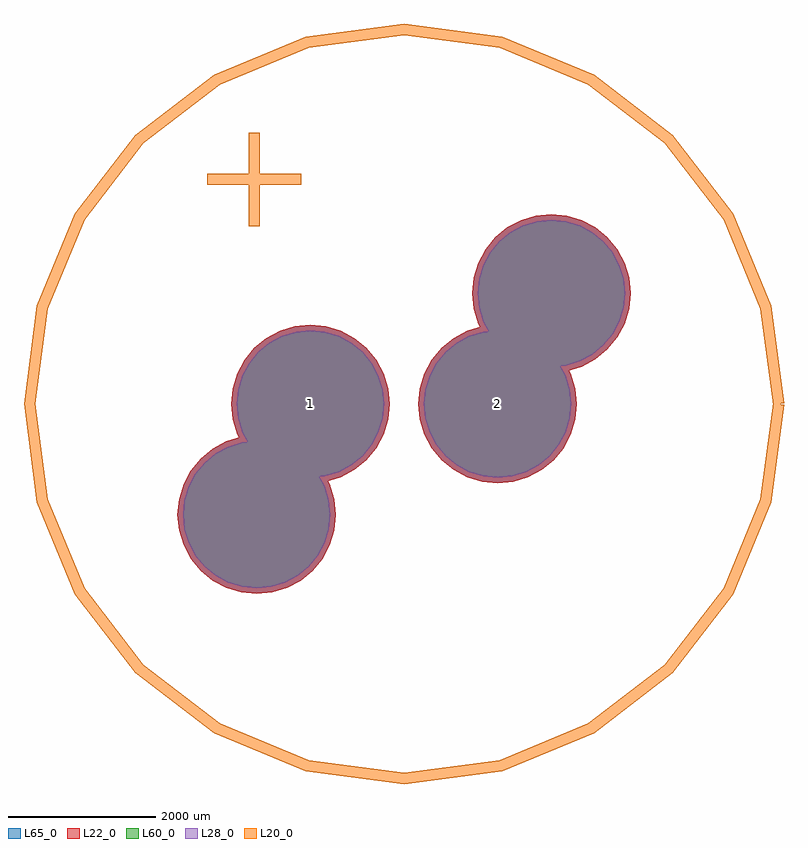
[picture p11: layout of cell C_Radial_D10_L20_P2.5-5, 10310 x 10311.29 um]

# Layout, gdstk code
import gdstk
lib = gdstk.Library(unit=1e-6, precision=1e-09)
def P(c, l, *ps):  # polygons
    for p in ps: c.add(gdstk.Polygon(p, *l))
L20_0 = (20, 0)
L22_0 = (22, 0)
L28_0 = (28, 0)
L60_0 = (60, 0)
L65_0 = (65, 0)

c_radial_d10_l20_p2_5_5 = lib.new_cell('C_Radial_D10_L20_P2.5-5')
P(c_radial_d10_l20_p2_5_5, L22_0, [(3073.47,1501.14),(3052.824,1710.763),(2991.679,1912.33),(2892.386,2098.095),(2758.759,2260.919),(2595.935,2394.546),(2410.17,2493.839),(2208.603,2554.984),(1998.98,2575.63),(1789.357,2554.984),(1587.79,2493.839),(1402.025,2394.546),(1239.201,2260.919),(1105.574,2098.095),(1006.281,1912.33),(945.136,1710.763),(924.49,1501.14),(945.136,1291.517),(1006.281,1089.95),(1105.574,904.185),(1239.201,741.361),(1402.025,607.734),(1587.79,508.441),(1789.357,447.296),(1998.98,426.65),(2208.603,447.296),(2410.17,508.441),(2595.935,607.734),(2758.759,741.361),(2892.386,904.185),(2991.679,1089.95),(3052.824,1291.517)],
  [(2344.49,0),(2323.844,209.623),(2262.699,411.19),(2163.406,596.955),(2029.779,759.779),(1866.955,893.406),(1681.19,992.699),(1479.623,1053.844),(1270,1074.49),(1060.377,1053.844),(858.81,992.699),(673.045,893.406),(510.221,759.779),(376.594,596.955),(277.301,411.19),(216.156,209.623),(195.51,0),(216.156,-209.623),(277.301,-411.19),(376.594,-596.955),(510.221,-759.779),(673.045,-893.406),(858.81,-992.699),(1060.377,-1053.844),(1270,-1074.49),(1479.623,-1053.844),(1681.19,-992.699),(1866.955,-893.406),(2029.779,-759.779),(2163.406,-596.955),(2262.699,-411.19),(2323.844,-209.623)],
  [(-924.49,-1501.14),(-945.136,-1291.517),(-1006.281,-1089.95),(-1105.574,-904.185),(-1239.201,-741.361),(-1402.025,-607.734),(-1587.79,-508.441),(-1789.357,-447.296),(-1998.98,-426.65),(-2208.603,-447.296),(-2410.17,-508.441),(-2595.935,-607.734),(-2758.759,-741.361),(-2892.386,-904.185),(-2991.679,-1089.95),(-3052.824,-1291.517),(-3073.47,-1501.14),(-3052.824,-1710.763),(-2991.679,-1912.33),(-2892.386,-2098.095),(-2758.759,-2260.919),(-2595.935,-2394.546),(-2410.17,-2493.839),(-2208.603,-2554.984),(-1998.98,-2575.63),(-1789.357,-2554.984),(-1587.79,-2493.839),(-1402.025,-2394.546),(-1239.201,-2260.919),(-1105.574,-2098.095),(-1006.281,-1912.33),(-945.136,-1710.763)],
  [(-195.51,0),(-216.156,209.623),(-277.301,411.19),(-376.594,596.955),(-510.221,759.779),(-673.045,893.406),(-858.81,992.699),(-1060.377,1053.844),(-1270,1074.49),(-1479.623,1053.844),(-1681.19,992.699),(-1866.955,893.406),(-2029.779,759.779),(-2163.406,596.955),(-2262.699,411.19),(-2323.844,209.623),(-2344.49,0),(-2323.844,-209.623),(-2262.699,-411.19),(-2163.406,-596.955),(-2029.779,-759.779),(-1866.955,-893.406),(-1681.19,-992.699),(-1479.623,-1053.844),(-1270,-1074.49),(-1060.377,-1053.844),(-858.81,-992.699),(-673.045,-893.406),(-510.221,-759.779),(-376.594,-596.955),(-277.301,-411.19),(-216.156,-209.623)])
P(c_radial_d10_l20_p2_5_5, L28_0, [(2998.47,1501.14),(2979.265,1696.131),(2922.388,1883.628),(2830.026,2056.427),(2705.726,2207.886),(2554.267,2332.186),(2381.468,2424.548),(2193.971,2481.425),(1998.98,2500.63),(1803.989,2481.425),(1616.492,2424.548),(1443.693,2332.186),(1292.234,2207.886),(1167.934,2056.427),(1075.572,1883.628),(1018.695,1696.131),(999.49,1501.14),(1018.695,1306.149),(1075.572,1118.652),(1167.934,945.853),(1292.234,794.394),(1443.693,670.094),(1616.492,577.732),(1803.989,520.855),(1998.98,501.65),(2193.971,520.855),(2381.468,577.732),(2554.267,670.094),(2705.726,794.394),(2830.026,945.853),(2922.388,1118.652),(2979.265,1306.149)],
  [(2269.49,0),(2250.285,194.991),(2193.408,382.488),(2101.046,555.287),(1976.746,706.746),(1825.287,831.046),(1652.488,923.408),(1464.991,980.285),(1270,999.49),(1075.009,980.285),(887.512,923.408),(714.713,831.046),(563.254,706.746),(438.954,555.287),(346.592,382.488),(289.715,194.991),(270.51,0),(289.715,-194.991),(346.592,-382.488),(438.954,-555.287),(563.254,-706.746),(714.713,-831.046),(887.512,-923.408),(1075.009,-980.285),(1270,-999.49),(1464.991,-980.285),(1652.488,-923.408),(1825.287,-831.046),(1976.746,-706.746),(2101.046,-555.287),(2193.408,-382.488),(2250.285,-194.991)],
  [(-999.49,-1501.14),(-1018.695,-1306.149),(-1075.572,-1118.652),(-1167.934,-945.853),(-1292.234,-794.394),(-1443.693,-670.094),(-1616.492,-577.732),(-1803.989,-520.855),(-1998.98,-501.65),(-2193.971,-520.855),(-2381.468,-577.732),(-2554.267,-670.094),(-2705.726,-794.394),(-2830.026,-945.853),(-2922.388,-1118.652),(-2979.265,-1306.149),(-2998.47,-1501.14),(-2979.265,-1696.131),(-2922.388,-1883.628),(-2830.026,-2056.427),(-2705.726,-2207.886),(-2554.267,-2332.186),(-2381.468,-2424.548),(-2193.971,-2481.425),(-1998.98,-2500.63),(-1803.989,-2481.425),(-1616.492,-2424.548),(-1443.693,-2332.186),(-1292.234,-2207.886),(-1167.934,-2056.427),(-1075.572,-1883.628),(-1018.695,-1696.131)],
  [(-270.51,0),(-289.715,194.991),(-346.592,382.488),(-438.954,555.287),(-563.254,706.746),(-714.713,831.046),(-887.512,923.408),(-1075.009,980.285),(-1270,999.49),(-1464.991,980.285),(-1652.488,923.408),(-1825.287,831.046),(-1976.746,706.746),(-2101.046,555.287),(-2193.408,382.488),(-2250.285,194.991),(-2269.49,0),(-2250.285,-194.991),(-2193.408,-382.488),(-2101.046,-555.287),(-1976.746,-706.746),(-1825.287,-831.046),(-1652.488,-923.408),(-1464.991,-980.285),(-1270,-999.49),(-1075.009,-980.285),(-887.512,-923.408),(-714.713,-831.046),(-563.254,-706.746),(-438.954,-555.287),(-346.592,-382.488),(-289.715,-194.991)])
P(c_radial_d10_l20_p2_5_5, L60_0, [(2998.47,1501.14),(2979.265,1696.131),(2922.388,1883.628),(2830.026,2056.427),(2705.726,2207.886),(2554.267,2332.186),(2381.468,2424.548),(2193.971,2481.425),(1998.98,2500.63),(1803.989,2481.425),(1616.492,2424.548),(1443.693,2332.186),(1292.234,2207.886),(1167.934,2056.427),(1075.572,1883.628),(1018.695,1696.131),(999.49,1501.14),(1018.695,1306.149),(1075.572,1118.652),(1167.934,945.853),(1292.234,794.394),(1443.693,670.094),(1616.492,577.732),(1803.989,520.855),(1998.98,501.65),(2193.971,520.855),(2381.468,577.732),(2554.267,670.094),(2705.726,794.394),(2830.026,945.853),(2922.388,1118.652),(2979.265,1306.149)],
  [(2269.49,0),(2250.285,194.991),(2193.408,382.488),(2101.046,555.287),(1976.746,706.746),(1825.287,831.046),(1652.488,923.408),(1464.991,980.285),(1270,999.49),(1075.009,980.285),(887.512,923.408),(714.713,831.046),(563.254,706.746),(438.954,555.287),(346.592,382.488),(289.715,194.991),(270.51,0),(289.715,-194.991),(346.592,-382.488),(438.954,-555.287),(563.254,-706.746),(714.713,-831.046),(887.512,-923.408),(1075.009,-980.285),(1270,-999.49),(1464.991,-980.285),(1652.488,-923.408),(1825.287,-831.046),(1976.746,-706.746),(2101.046,-555.287),(2193.408,-382.488),(2250.285,-194.991)],
  [(-999.49,-1501.14),(-1018.695,-1306.149),(-1075.572,-1118.652),(-1167.934,-945.853),(-1292.234,-794.394),(-1443.693,-670.094),(-1616.492,-577.732),(-1803.989,-520.855),(-1998.98,-501.65),(-2193.971,-520.855),(-2381.468,-577.732),(-2554.267,-670.094),(-2705.726,-794.394),(-2830.026,-945.853),(-2922.388,-1118.652),(-2979.265,-1306.149),(-2998.47,-1501.14),(-2979.265,-1696.131),(-2922.388,-1883.628),(-2830.026,-2056.427),(-2705.726,-2207.886),(-2554.267,-2332.186),(-2381.468,-2424.548),(-2193.971,-2481.425),(-1998.98,-2500.63),(-1803.989,-2481.425),(-1616.492,-2424.548),(-1443.693,-2332.186),(-1292.234,-2207.886),(-1167.934,-2056.427),(-1075.572,-1883.628),(-1018.695,-1696.131)],
  [(-270.51,0),(-289.715,194.991),(-346.592,382.488),(-438.954,555.287),(-563.254,706.746),(-714.713,831.046),(-887.512,923.408),(-1075.009,980.285),(-1270,999.49),(-1464.991,980.285),(-1652.488,923.408),(-1825.287,831.046),(-1976.746,706.746),(-2101.046,555.287),(-2193.408,382.488),(-2250.285,194.991),(-2269.49,0),(-2250.285,-194.991),(-2193.408,-382.488),(-2101.046,-555.287),(-1976.746,-706.746),(-1825.287,-831.046),(-1652.488,-923.408),(-1464.991,-980.285),(-1270,-999.49),(-1075.009,-980.285),(-887.512,-923.408),(-714.713,-831.046),(-563.254,-706.746),(-438.954,-555.287),(-346.592,-382.488),(-289.715,-194.991)])
P(c_radial_d10_l20_p2_5_5, L65_0, [(3073.47,1501.14),(3052.824,1710.763),(2991.679,1912.33),(2892.386,2098.095),(2758.759,2260.919),(2595.935,2394.546),(2410.17,2493.839),(2208.603,2554.984),(1998.98,2575.63),(1789.357,2554.984),(1587.79,2493.839),(1402.025,2394.546),(1239.201,2260.919),(1105.574,2098.095),(1006.281,1912.33),(945.136,1710.763),(924.49,1501.14),(945.136,1291.517),(1006.281,1089.95),(1105.574,904.185),(1239.201,741.361),(1402.025,607.734),(1587.79,508.441),(1789.357,447.296),(1998.98,426.65),(2208.603,447.296),(2410.17,508.441),(2595.935,607.734),(2758.759,741.361),(2892.386,904.185),(2991.679,1089.95),(3052.824,1291.517)],
  [(2344.49,0),(2323.844,209.623),(2262.699,411.19),(2163.406,596.955),(2029.779,759.779),(1866.955,893.406),(1681.19,992.699),(1479.623,1053.844),(1270,1074.49),(1060.377,1053.844),(858.81,992.699),(673.045,893.406),(510.221,759.779),(376.594,596.955),(277.301,411.19),(216.156,209.623),(195.51,0),(216.156,-209.623),(277.301,-411.19),(376.594,-596.955),(510.221,-759.779),(673.045,-893.406),(858.81,-992.699),(1060.377,-1053.844),(1270,-1074.49),(1479.623,-1053.844),(1681.19,-992.699),(1866.955,-893.406),(2029.779,-759.779),(2163.406,-596.955),(2262.699,-411.19),(2323.844,-209.623)],
  [(-924.49,-1501.14),(-945.136,-1291.517),(-1006.281,-1089.95),(-1105.574,-904.185),(-1239.201,-741.361),(-1402.025,-607.734),(-1587.79,-508.441),(-1789.357,-447.296),(-1998.98,-426.65),(-2208.603,-447.296),(-2410.17,-508.441),(-2595.935,-607.734),(-2758.759,-741.361),(-2892.386,-904.185),(-2991.679,-1089.95),(-3052.824,-1291.517),(-3073.47,-1501.14),(-3052.824,-1710.763),(-2991.679,-1912.33),(-2892.386,-2098.095),(-2758.759,-2260.919),(-2595.935,-2394.546),(-2410.17,-2493.839),(-2208.603,-2554.984),(-1998.98,-2575.63),(-1789.357,-2554.984),(-1587.79,-2493.839),(-1402.025,-2394.546),(-1239.201,-2260.919),(-1105.574,-2098.095),(-1006.281,-1912.33),(-945.136,-1710.763)],
  [(-195.51,0),(-216.156,209.623),(-277.301,411.19),(-376.594,596.955),(-510.221,759.779),(-673.045,893.406),(-858.81,992.699),(-1060.377,1053.844),(-1270,1074.49),(-1479.623,1053.844),(-1681.19,992.699),(-1866.955,893.406),(-2029.779,759.779),(-2163.406,596.955),(-2262.699,411.19),(-2323.844,209.623),(-2344.49,0),(-2323.844,-209.623),(-2262.699,-411.19),(-2163.406,-596.955),(-2029.779,-759.779),(-1866.955,-893.406),(-1681.19,-992.699),(-1479.623,-1053.844),(-1270,-1074.49),(-1060.377,-1053.844),(-858.81,-992.699),(-673.045,-893.406),(-510.221,-759.779),(-376.594,-596.955),(-277.301,-411.19),(-216.156,-209.623)])
c_radial_d10_l20_p2_5_5.add(gdstk.FlexPath([(5080,0),(4906.903,1314.801),(4399.409,2540),(3592.102,3592.102),(2540,4399.409),(1314.801,4906.903),(0,5080),(-1314.801,4906.903),(-2540,4399.409),(-3592.102,3592.102),(-4399.409,2540),(-4906.903,1314.801),(-5080,0),(-4906.903,-1314.801),(-4399.409,-2540),(-3592.102,-3592.102),(-2540,-4399.409),(-1314.801,-4906.903),(0,-5080),(1314.801,-4906.903),(2540,-4399.409),(3592.102,-3592.102),(4399.409,-2540),(4906.903,-1314.801),(5080,0)], 149.998, ends="flush", simple_path=True, layer=20, datatype=0))  # L20_0
c_radial_d10_l20_p2_5_5.add(gdstk.FlexPath([(-2667,3048),(-1397,3048)], 149.998, ends="flush", simple_path=True, layer=20, datatype=0))  # L20_0
c_radial_d10_l20_p2_5_5.add(gdstk.FlexPath([(-2032,3683),(-2032,2413)], 149.998, ends="flush", simple_path=True, layer=20, datatype=0))  # L20_0
c_radial_d10_l20_p2_5_5.add(gdstk.Label('2', (1270,0), layer=28, texttype=0))
c_radial_d10_l20_p2_5_5.add(gdstk.Label('1', (-1270,0), layer=28, texttype=0))
c_radial_d10_l20_p2_5_5.add(gdstk.Label('type', (0,-6350), layer=9, texttype=0))
c_radial_d10_l20_p2_5_5.add(gdstk.Label('devicename', (0,6350), layer=9, texttype=0))

lib.write_gds('C_Radial_D10_L20_P2.5-5.gds')
